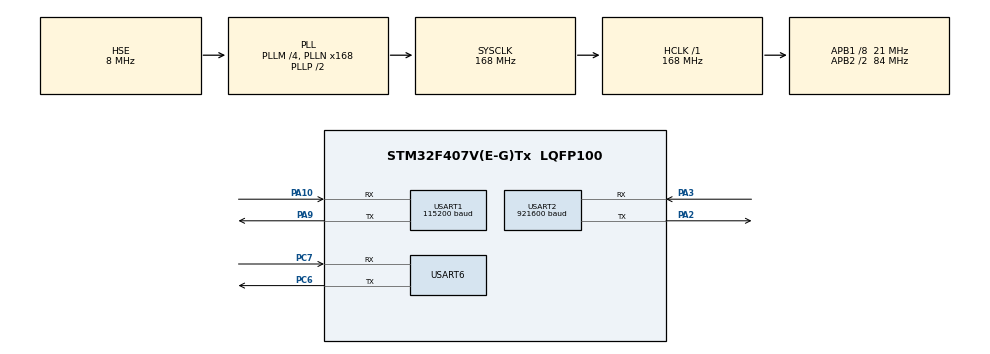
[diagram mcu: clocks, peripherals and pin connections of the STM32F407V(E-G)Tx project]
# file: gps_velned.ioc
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Mcu.Family=STM32F4
Mcu.Name=STM32F407V(E-G)Tx
Mcu.Package=LQFP100
NVIC.PriorityGroup=NVIC_PRIORITYGROUP_4
NVIC.USART1_IRQn=true\:0\:0\:false\:false\:true\:true
NVIC.USART2_IRQn=true\:0\:0\:false\:false\:true\:true
NVIC.USART6_IRQn=true\:0\:0\:false\:false\:true\:true
PA10.Mode=Asynchronous
PA10.Signal=USART1_RX
PA13.Mode=Serial_Wire
PA13.Signal=SYS_JTMS-SWDIO
PA14.Mode=Serial_Wire
PA14.Signal=SYS_JTCK-SWCLK
PA2.Mode=Asynchronous
PA2.Signal=USART2_TX
PA3.Mode=Asynchronous
PA3.Signal=USART2_RX
PA9.Mode=Asynchronous
PA9.Signal=USART1_TX
PC6.Mode=Asynchronous
PC6.Signal=USART6_TX
PC7.Mode=Asynchronous
PC7.Signal=USART6_RX
PH0-OSC_IN.Mode=HSE-External-Oscillator
PH0-OSC_IN.Signal=RCC_OSC_IN
PH1-OSC_OUT.Mode=HSE-External-Oscillator
PH1-OSC_OUT.Signal=RCC_OSC_OUT
ProjectManager.HeapSize=0x200
ProjectManager.StackSize=0x4000
ProjectManager.TargetToolchain=EWARM
RCC.48MHZClocksFreq_Value=84000000
RCC.AHBFreq_Value=168000000
RCC.APB1CLKDivider=RCC_HCLK_DIV8
RCC.APB1Freq_Value=21000000
RCC.APB1TimFreq_Value=42000000
RCC.APB2CLKDivider=RCC_HCLK_DIV2
RCC.APB2Freq_Value=84000000
RCC.APB2TimFreq_Value=168000000
RCC.CortexFreq_Value=168000000
RCC.HCLKFreq_Value=168000000
RCC.HSE_VALUE=8000000
RCC.HSI_VALUE=16000000
RCC.LSE_VALUE=32768
RCC.PLLM=4
RCC.PLLN=168
RCC.PLLSourceVirtual=RCC_PLLSOURCE_HSE
RCC.SYSCLKFreq_VALUE=168000000
RCC.SYSCLKSource=RCC_SYSCLKSOURCE_PLLCLK
RCC.VCOOutputFreq_Value=336000000
USART1.BaudRate=115200
USART1.VirtualMode=VM_ASYNC
USART2.BaudRate=921600
USART2.VirtualMode=VM_ASYNC
USART6.VirtualMode=VM_ASYNC
board=GPS_decoding

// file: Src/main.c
/**
  ******************************************************************************
  * File Name          : main.c
  * Description        : Main program body
  ******************************************************************************
  ** This notice applies to any and all portions of this file
  * that are not between comment pairs USER CODE BEGIN and
  * USER CODE END. Other portions of this file, whether
  * inserted by the user or by software development tools
  * are owned by their respective copyright owners.
  *
  * COPYRIGHT(c) 2017 STMicroelectronics
  *
  * Redistribution and use in source and binary forms, with or without modification,
  * are permitted provided that the following conditions are met:
  *   1. Redistributions of source code must retain the above copyright notice,
  *      this list of conditions and the following disclaimer.
  *   2. Redistributions in binary form must reproduce the above copyright notice,
  *      this list of conditions and the following disclaimer in the documentation
  *      and/or other materials provided with the distribution.
  *   3. Neither the name of STMicroelectronics nor the names of its contributors
  *      may be used to endorse or promote products derived from this software
  *      without specific prior written permission.
  *
  * THIS SOFTWARE IS PROVIDED BY THE COPYRIGHT HOLDERS AND CONTRIBUTORS "AS IS"
  * AND ANY EXPRESS OR IMPLIED WARRANTIES, INCLUDING, BUT NOT LIMITED TO, THE
  * IMPLIED WARRANTIES OF MERCHANTABILITY AND FITNESS FOR A PARTICULAR PURPOSE ARE
  * DISCLAIMED. IN NO EVENT SHALL THE COPYRIGHT HOLDER OR CONTRIBUTORS BE LIABLE
  * FOR ANY DIRECT, INDIRECT, INCIDENTAL, SPECIAL, EXEMPLARY, OR CONSEQUENTIAL
  * DAMAGES (INCLUDING, BUT NOT LIMITED TO, PROCUREMENT OF SUBSTITUTE GOODS OR
  * SERVICES; LOSS OF USE, DATA, OR PROFITS; OR BUSINESS INTERRUPTION) HOWEVER
  * CAUSED AND ON ANY THEORY OF LIABILITY, WHETHER IN CONTRACT, STRICT LIABILITY,
  * OR TORT (INCLUDING NEGLIGENCE OR OTHERWISE) ARISING IN ANY WAY OUT OF THE USE
  * OF THIS SOFTWARE, EVEN IF ADVISED OF THE POSSIBILITY OF SUCH DAMAGE.
  *
  ******************************************************************************
  */
#include "main.h"
#include "stm32f4xx_hal.h"
#include "usart.h"
#include "gpio.h"

/* USER CODE BEGIN Includes */
#include "gps.h"
/* USER CODE END Includes */

/* USER CODE BEGIN PV */
/* Private variables ---------------------------------------------------------*/
/* USER CODE END PV */

void SystemClock_Config(void);

/* USER CODE BEGIN PFP */
/* Private function prototypes -----------------------------------------------*/

/* USER CODE END PFP */

int main(void)
{

  /* USER CODE BEGIN 1 */
  gps_velned.CK_A = 0;
  gps_velned.CK_B = 0;

  gps_velned.gps_flag = 0;
  gps_velned.gps_start_flag = 0;
  gps_velned.idx = 0;
  gps_velned.count = 0;
  /* USER CODE END 1 */

  /* MCU Configuration----------------------------------------------------------*/

  /* Reset of all peripherals, Initializes the Flash interface and the Systick. */
  HAL_Init();

  /* Configure the system clock */
  SystemClock_Config();

  /* Initialize all configured peripherals */
  MX_GPIO_Init();
  MX_USART1_UART_Init();
  MX_USART2_UART_Init();
  MX_USART6_UART_Init();

  /* USER CODE BEGIN 2 */
  HAL_UART_Receive_IT(&huart6, gps_velned.gps_data_receive_buff, 1);
  /* USER CODE END 2 */

  /* Infinite loop */
  /* USER CODE BEGIN WHILE */
  while (1)
  {

    if(gps_velned.gps_flag)
    {
      read_gps_packet();
    }

  /* USER CODE END WHILE */

  }

}

/** System Clock Configuration
*/
void SystemClock_Config(void)
{

  RCC_OscInitTypeDef RCC_OscInitStruct;
  RCC_ClkInitTypeDef RCC_ClkInitStruct;

    /**Configure the main internal regulator output voltage
    */
  __HAL_RCC_PWR_CLK_ENABLE();

  __HAL_PWR_VOLTAGESCALING_CONFIG(PWR_REGULATOR_VOLTAGE_SCALE1);

    /**Initializes the CPU, AHB and APB busses clocks
    */
  RCC_OscInitStruct.OscillatorType = RCC_OSCILLATORTYPE_HSE;
  RCC_OscInitStruct.HSEState = RCC_HSE_ON;
  RCC_OscInitStruct.PLL.PLLState = RCC_PLL_ON;
  RCC_OscInitStruct.PLL.PLLSource = RCC_PLLSOURCE_HSE;
  RCC_OscInitStruct.PLL.PLLM = 4;
  RCC_OscInitStruct.PLL.PLLN = 168;
  RCC_OscInitStruct.PLL.PLLP = RCC_PLLP_DIV2;
  RCC_OscInitStruct.PLL.PLLQ = 4;
  if (HAL_RCC_OscConfig(&RCC_OscInitStruct) != HAL_OK)
  {
    _Error_Handler(__FILE__, __LINE__);
  }

    /**Initializes the CPU, AHB and APB busses clocks
    */
  RCC_ClkInitStruct.ClockType = RCC_CLOCKTYPE_HCLK|RCC_CLOCKTYPE_SYSCLK
                              |RCC_CLOCKTYPE_PCLK1|RCC_CLOCKTYPE_PCLK2;
  RCC_ClkInitStruct.SYSCLKSource = RCC_SYSCLKSOURCE_PLLCLK;
  RCC_ClkInitStruct.AHBCLKDivider = RCC_SYSCLK_DIV1;
  RCC_ClkInitStruct.APB1CLKDivider = RCC_HCLK_DIV8;
  RCC_ClkInitStruct.APB2CLKDivider = RCC_HCLK_DIV2;

  if (HAL_RCC_ClockConfig(&RCC_ClkInitStruct, FLASH_LATENCY_5) != HAL_OK)
  {
    _Error_Handler(__FILE__, __LINE__);
  }

    /**Configure the Systick interrupt time
    */
  HAL_SYSTICK_Config(HAL_RCC_GetHCLKFreq()/1000);

    /**Configure the Systick
    */
  HAL_SYSTICK_CLKSourceConfig(SYSTICK_CLKSOURCE_HCLK);

  /* SysTick_IRQn interrupt configuration */
  HAL_NVIC_SetPriority(SysTick_IRQn, 0, 0);
}

/* USER CODE BEGIN 4 */

void HAL_UART_RxCpltCallback(UART_HandleTypeDef *huart)
{
   HAL_UART_Receive_IT(&huart6,gps_velned.gps_data_receive_buff,1);
   /*
   if(gps_velned.gps_data_receive_buff[0] == 0xB5)
    printf("\r\n");

   printf("%4X ", gps_posllh.gps_data_receive_buff[0]);
   */

  if(!gps_velned.gps_flag)
    HAL_UART_Receive_IT(&huart6,gps_velned.gps_data_receive_buff,1);

  gps_velned.gps_rx_buff[gps_velned.count++] = gps_velned.gps_data_receive_buff[0];

  if(gps_velned.count == GPS_BUFF_SIZE)
  {
    gps_velned.count = 0;
    gps_velned.gps_flag = 1;
  }

}

#ifdef __GNUC__
  /* With GCC/RAISONANCE, small printf (option LD Linker->Libraries->Small printf
     set to 'Yes') calls __io_putchar() */
  #define PUTCHAR_PROTOTYPE int __io_putchar(int ch)
#else
  #define PUTCHAR_PROTOTYPE int fputc(int ch, FILE *f)
#endif /* __GNUC__ */
/**
  * @brief  Retargets the C library printf function to the USART.
  * @param  None
  * @retval None
  */
PUTCHAR_PROTOTYPE
{
  /* write a character to the uart1 and Loop until the end of transmission */
  HAL_UART_Transmit(&huart2, (uint8_t *)&ch, 1, 0xFFFF);

  return ch;
}

/* USER CODE END 4 */

void _Error_Handler(char * file, int line)
{
  while(1)
  {
  }
}

/************************ (C) COPYRIGHT STMicroelectronics *****END OF FILE****/
